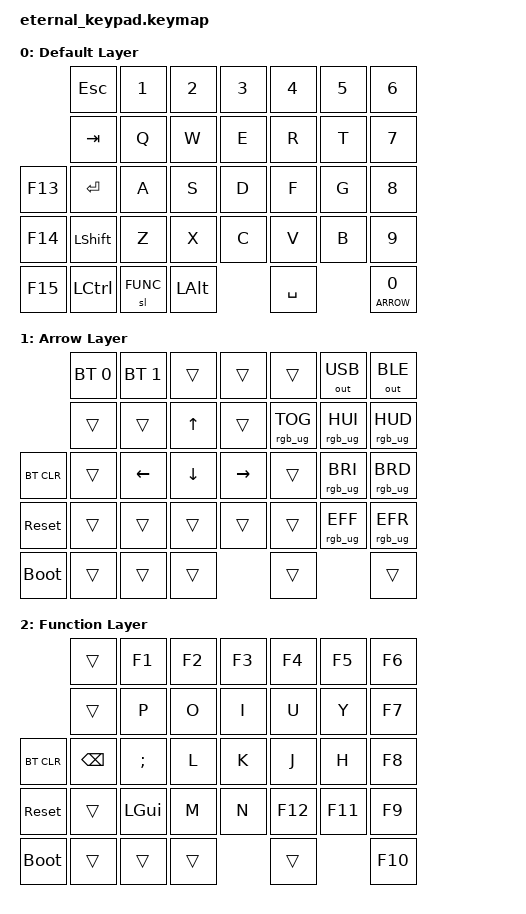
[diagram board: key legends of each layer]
/*
 * Copyright (c) 2022 The ZMK Contributors
 *
 * SPDX-License-Identifier: MIT
 */

#include <behaviors.dtsi>
#include <dt-bindings/zmk/keys.h>
#include <dt-bindings/zmk/bt.h>
#include <dt-bindings/zmk/outputs.h>
#include <dt-bindings/zmk/rgb.h>

#define BASE        0
#define ARROW       1
#define FUNC        2

/ {
  chosen {
      zmk,kscan = &kscan0;
      zmk,matrix-transform = &default_transform;
  };

  keymap {
    compatible = "zmk,keymap";

    default_layer {
      display-name = "Default Layer";
      bindings = <
                    &kp ESC   &kp N1    &kp N2   &kp N3    &kp N4    &kp N5  &kp N6
                    &kp TAB   &kp Q     &kp W    &kp E     &kp R     &kp T   &kp N7
        &kp F13     &kp ENTER &kp A     &kp S    &kp D     &kp F     &kp G   &kp N8
        &kp F14     &kp LSHFT &kp Z     &kp X    &kp C     &kp V     &kp B   &kp N9
        &kp F15     &kp LCTRL &sl FUNC  &kp LALT           &kp SPACE         &lt ARROW N0
      >;
    };

    arrow_layer {
      display-name = "Arrow Layer";
      bindings = <
                    &bt BT_SEL 0 &bt BT_SEL 1 &trans     &trans    &trans           &out OUT_USB     &out OUT_BLE
                    &trans       &trans       &kp UP     &trans    &rgb_ug RGB_TOG  &rgb_ug RGB_HUI  &rgb_ug RGB_HUD
        &bt BT_CLR  &trans       &kp LEFT     &kp DOWN   &kp RIGHT &trans           &rgb_ug RGB_BRI  &rgb_ug RGB_BRD
        &sys_reset      &trans       &trans       &trans     &trans    &trans           &rgb_ug RGB_EFF  &rgb_ug RGB_EFR
        &bootloader &trans       &trans       &trans               &trans                            &trans
      >;
    };

    function_layer {
      display-name = "Function Layer";
      bindings = <
                    &trans    &kp F1    &kp F2   &kp F3    &kp F4   &kp F5   &kp F6
                    &trans    &kp P     &kp O    &kp I     &kp U    &kp Y    &kp F7
        &bt BT_CLR  &kp BSPC  &kp SEMI  &kp L    &kp K     &kp J    &kp H    &kp F8
        &sys_reset      &trans    &kp LGUI  &kp M    &kp N     &kp F12  &kp F11  &kp F9
        &bootloader &trans    &trans    &trans             &trans            &kp F10
      >;
    };
  };
};
